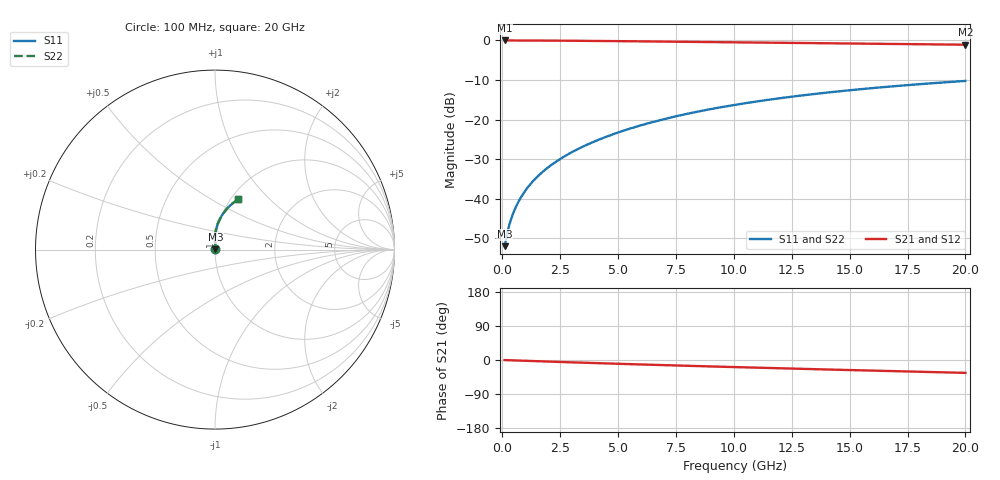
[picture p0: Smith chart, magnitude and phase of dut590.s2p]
! Touchstone file exported from HFSS 2024.1.0
!  File:  C:/UserFiles/LocalFiles/RDL_TSV_Batchsim/temp_RDL_bottom_590_1779691077.aedt
!  Generated:  02:40:23 PM May 25, 2026
!  Design:  RDL_bottom
!  Project:  temp_RDL_bottom_590_1779691077
!  Setup:  Setup1
!  Solution:  Sweep
! Variables:
!  dtsv = 10.80580581um
!  hbump = 3um
!  htsv = 90.75um
!  ldown = 452.85um
!  lrdl = 100um
!  p = 40
!  p1 = 59.96um
!  rhole = 1um
!  t = 450um
!  tdown = 3.05um
!  trdl = 3.915915916um
!  wdown = 29.3um
!  wrdl = 20um
# GHz S MA R 50.000000
! Terminal data exported
! Port[1] = RDL1_T1
! Port[2] = RDL1_T2
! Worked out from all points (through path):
!   200 points, 100 MHz to 20 GHz, reference 50 ohm
!   highest |S21| = -0.02 dB at 100 MHz (marker M1); lowest = -1.1 dB at 20 GHz (marker M2)
!   group delay of S21, straight-line fit = 4.65 ps
!   lowest |S11| = -52.0 dB at 100 MHz (marker M3), VSWR 1.01, Z = 50.2 + j0.141 ohm
!   |S11| at or under -10 dB: start of sweep to end of sweep
!   |S22| runs from -52.0 to -10.2 dB; largest |S21 - S12| = 2.7e-15
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0.1  0.002514 33.9  0.9979 -0.2  0.9979 -0.2  0.002514 33.9
! Gamma 0 0 0 0
! Port Impedance 50 0 50 0
0.2  0.003512 51.3  0.9978 -0.4  0.9978 -0.4  0.003512 51.3
0.3  0.004625 60.1  0.9976 -0.7  0.9976 -0.7  0.004625 60.1
0.4  0.005751 65.4  0.9974 -0.9  0.9974 -0.9  0.005751 65.4
0.5  0.006882 69.2  0.9972 -1.1  0.9972 -1.1  0.006882 69.2
0.6  0.008022 72.1  0.9971 -1.3  0.9971 -1.3  0.008022 72.1
0.8  0.01034 76.3  0.9967 -1.7  0.9967 -1.7  0.01034 76.3
1.1  0.0139 80.3  0.9961 -2.3  0.9961 -2.3  0.0139 80.3
1.3  0.01633 82.2  0.9957 -2.7  0.9957 -2.7  0.01633 82.2
1.6  0.02005 84.3  0.9949 -3.3  0.9949 -3.3  0.02005 84.3
2.1  0.02645 86.6  0.9933 -4.4  0.9933 -4.4  0.02645 86.6
2.7  0.03447 88.3  0.9909 -5.6  0.9909 -5.6  0.03447 88.3
3.5  0.04575 89.5  0.987 -7.2  0.987 -7.2  0.04575 89.5
4.2  0.05615 89.9  0.9832 -8.5  0.9832 -8.5  0.05615 89.9
5  0.06857 89.8  0.9784 -10.0  0.9784 -10.0  0.06856 89.8
6.8  0.09804 88.2  0.9668 -13.3  0.9668 -13.3  0.09803 88.2
8.4  0.1252 85.8  0.9562 -16.0  0.9562 -16.0  0.1252 85.8
10.1  0.1542 82.9  0.9451 -18.8  0.9451 -18.8  0.1542 82.9
11.7  0.1812 80.0  0.9347 -21.4  0.9347 -21.4  0.1811 80.0
13.4  0.2091 76.9  0.9238 -24.1  0.9238 -24.1  0.209 76.9
16.7  0.2604 71.0  0.9028 -29.1  0.9028 -29.1  0.2604 71.0
20  0.3075 65.4  0.8818 -34.0  0.8818 -34.0  0.3074 65.4
